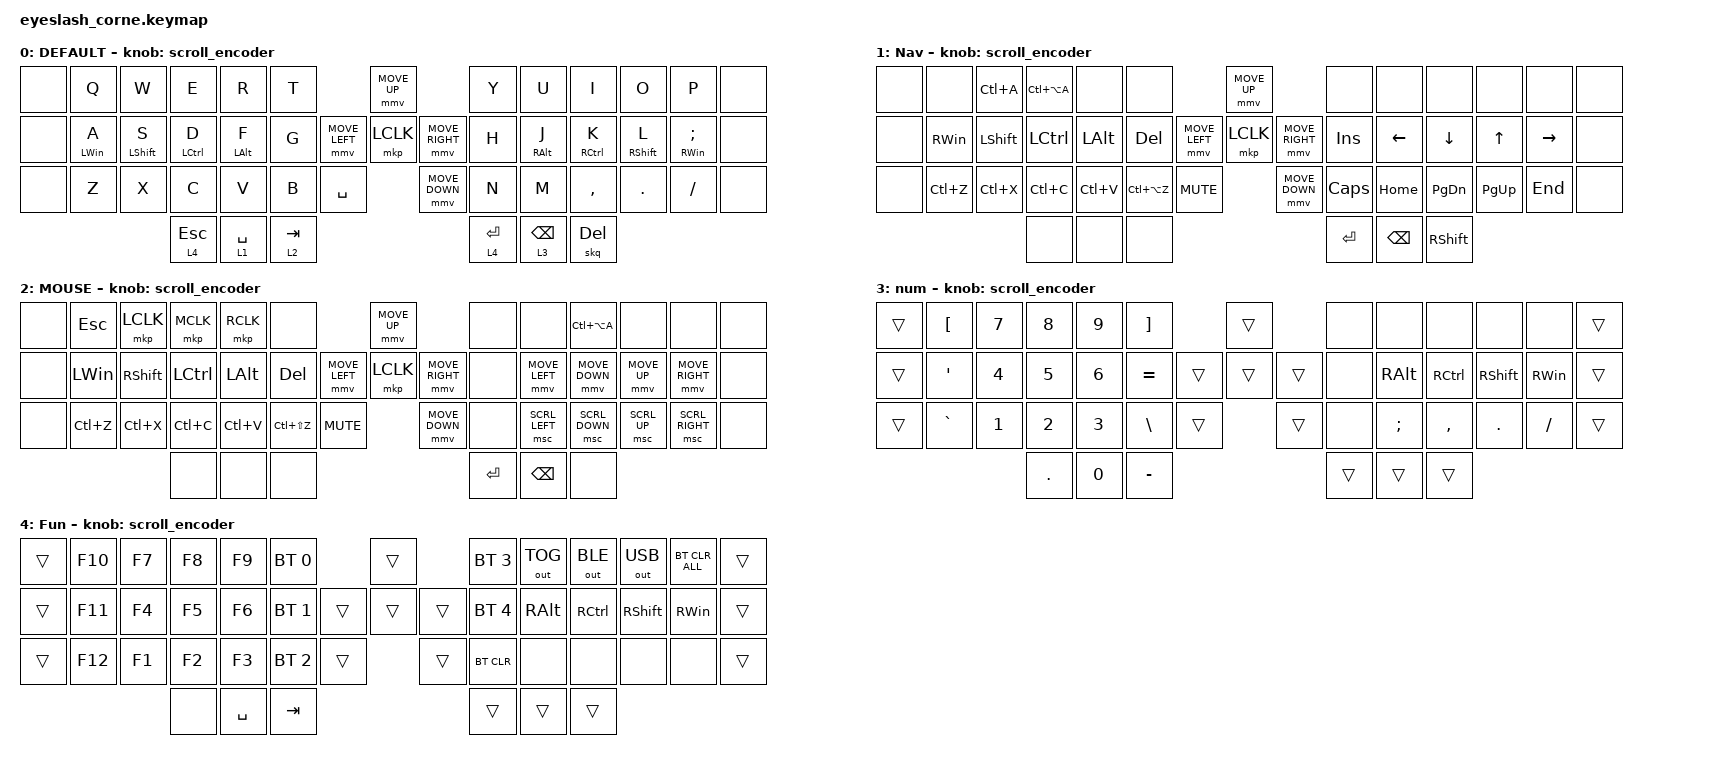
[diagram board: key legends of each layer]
#define ZMK_POINTING_DEFAULT_MOVE_VAL 1200  // 600
#define ZMK_POINTING_DEFAULT_SCRL_VAL 25   // 10

#include <input/processors.dtsi>
#include <zephyr/dt-bindings/input/input-event-codes.h>
#include <behaviors.dtsi>
#include <dt-bindings/zmk/bt.h>
#include <dt-bindings/zmk/keys.h>
#include <dt-bindings/zmk/outputs.h>
#include <dt-bindings/zmk/pointing.h>
#include <dt-bindings/zmk/rgb.h>
#include "zmk-helpers/key-labels/eyelash42.h"

#define DEFAULT   0
#define NAV       1
#define MOUSE     2
#define NUM       3
#define FUN       4
#define MOUSE_KEEP_ALIVE_INS LM4 LM3 LM2 LM1 LM0 LT4 LT3 LT2 LT1 LT0 RT0 RM1 RM2 RM3 RM4 RB1 RB2 RB3 RB4
#define MUM_KEEP_ALIVE_INS KEYS_L THUMBS RT2 RM1 RM2 RM3 RM4 RB1 RB2 RB3 RB4
#define COMBO_TIMEOUT 30
#define COMBO_IDLE 150

&mmv_input_listener { input-processors = <&zip_xy_scaler 2 1>; };

&msc_input_listener { input-processors = <&zip_scroll_scaler 2 1>; };

&msc {
    acceleration-exponent = <1>;      // 0
    time-to-max-speed-ms = <100>;       // 300
    delay-ms = <0>;                   // 0
};

&mmv {
    time-to-max-speed-ms = <500>;
    acceleration-exponent = <1>;
    trigger-period-ms = <16>;
    delay-ms = <0>;                   // 0
};

/ {
    behaviors {
        caps_word: caps_word {
            compatible = "zmk,behavior-caps-word";
            #binding-cells = <0>;
            continue-list = <BACKSPACE DELETE UNDERSCORE MINUS>; // 遇到这些键不停止大写
        };

        // 窗口切换神器

        swapper: swapper {
            compatible = "zmk,behavior-tri-state";
            #binding-cells = <0>;

            // 意思是：开始时按住 Alt，中间过程按 Tab，结束时松开 Alt

            bindings = <&kt LALT>, <&kp TAB>, <&kt LALT>;

            // 1000 毫秒（1秒）没动作就自动确认切换

            timeout-ms = <500>;

            // 关键：把你的导航键索引填在这里
            // 这样当你按这些键时，Swapper 会保持 Alt 按下状态

            ignored-key-positions = <LT1 RT1 LH1 RM1 RM4>;
        };

        // 这里的 smart_mouse 对应你原有的宏定义

        smart_mouse: smart_mouse {
            compatible = "zmk,behavior-tri-state";
            #binding-cells = <0>;

            // 行为定义：[开始时执行], [中间执行], [结束时执行]

            bindings = <&tog MOUSE>, <&none>, <&tog MOUSE>;

            // 1500毫秒无动作自动退出

            timeout-ms = <1500>;

            // 在哪些层下不进行超时计时（通常包含鼠标层本身）
            // 这里的 MOUSE, NAV 等需要对应你的层索引数字

            ignored-layers = <1 2>;

            // 哪些按键按下后会重置计时器，不导致层退出
            // 这里的 MOUSE_KEEP_ALIVE_INS 是你在上面定义的物理索引宏

            ignored-key-positions = <MOUSE_KEEP_ALIVE_INS>;
        };

        smart_num: smart_num {
            compatible = "zmk,behavior-tri-state";
            #binding-cells = <0>;

            // 开始：开启 NUM 层 | 中间：无动作 | 结束：关闭 NUM 层

            bindings = <&tog NUM>, <&none>, <&tog NUM>;

            // 数字层通常不需要太短的超时，甚至可以设长一点
            // 让我们主要依靠“按键动作”来退出

            timeout-ms = <2000>;

            // 关键：包含 NUM 层本身 (3)

            ignored-layers = <NUM>;

            // 关键：这里填入所有“属于数字层”的按键索引
            // 只要按这些键，数字层就不会关闭。
            // 必须包含：R(4) 和 U(8) 这两个 Combo 触发键！

            ignored-key-positions = <MUM_KEEP_ALIVE_INS>;
        };

        hml: hml {
            compatible = "zmk,behavior-hold-tap";
            #binding-cells = <2>;
            bindings = <&kp>, <&kp>;

            flavor = "tap-preferred";
            tapping-term-ms = <280>;
            quick-tap-ms = <200>;                // 快速连打不触发长按
            require-prior-idle-ms = <150>;       // 关键：只有停顿后的按压才判定为修饰键
            hold-trigger-key-positions = <KEYS_R THUMBS>; // 交叉触发：左手修饰键只对右手生效
            hold-trigger-on-release;
        };

        hmr: hmr {
            compatible = "zmk,behavior-hold-tap";
            #binding-cells = <2>;
            bindings = <&kp>, <&kp>;

            flavor = "tap-preferred";
            tapping-term-ms = <280>;
            quick-tap-ms = <200>;
            require-prior-idle-ms = <150>;
            hold-trigger-key-positions = <KEYS_L THUMBS>;
            hold-trigger-on-release;
        };

        // 1. 简化的快速粘滞键：只负责点按粘滞，不处理双击锁定

        skq: sticky_key_quick {
            compatible = "zmk,behavior-sticky-key";
            #binding-cells = <1>;
            bindings = <&kp>;
            release-after-ms = <1000>;
            quick-release;
            ignore-modifiers; // 核心：忽略修饰键干扰，避开系统连击判定
        };

        thumb_num: thumb_num {
            compatible = "zmk,behavior-hold-tap";
            #binding-cells = <2>;
            flavor = "balanced";
            tapping-term-ms = <200>;
            quick-tap-ms = <150>;
            bindings = <&mo>, <&smart_num>;
        };

        // 定义一个名为 thumb_mouse 的行为

        thumb_mouse: thumb_mouse {
            compatible = "zmk,behavior-hold-tap";
            #binding-cells = <2>;
            flavor = "balanced";
            tapping-term-ms = <200>;
            quick-tap-ms = <150>;

            // 第一个绑定是 Hold（长按）：切层
            // 第二个绑定是 Tap（短按）：smart_mouse

            bindings = <&mo>, <&smart_mouse>;
        };
    };

    rgb_encoder: rgb_encoder {
        compatible = "zmk,behavior-sensor-rotate";
        #sensor-binding-cells = <0>;
        bindings = <&rgb_ug RGB_BRI>, <&rgb_ug RGB_BRD>;
    };

    scroll_encoder: scroll_encoder {
        compatible = "zmk,behavior-sensor-rotate";
        #sensor-binding-cells = <0>;
        bindings = <&msc SCRL_DOWN>, <&msc SCRL_UP>;

        tap-ms = <100>;
    };

    conditional_layers { compatible = "zmk,conditional-layers"; };

    combos {
        compatible = "zmk,combos";

        // ESC: 左手上排 (W + E)

        combo_esc {
            timeout-ms = <COMBO_TIMEOUT>;
            require-prior-idle-ms = <COMBO_IDLE>;
            key-positions = <LT2 LT3>;
            bindings = <&kp ESC>;
        };

        // shift: 左手 (s + l)

        combo_shift {
            timeout-ms = <COMBO_TIMEOUT>;
            require-prior-idle-ms = <COMBO_IDLE>;
            key-positions = <LM3 RM3>;
            bindings = <&kp LSHIFT>;
        };

        // --- 3. 智能模式与高级功能 ---

        combo_smart_mouse {
            timeout-ms = <40>;
            key-positions = <LT0 RT0>; // T + Y
            bindings = <&smart_mouse>;
            layers = <0>;
        };

        combo_smart_num {
            timeout-ms = <40>;
            key-positions = <LT2 RT2>; // R + U
            bindings = <&smart_num>;
            layers = <0>;
        };

        combo_swapper {
            timeout-ms = <40>;
            require-prior-idle-ms = <150>;
            key-positions = <LT1 RT1>;
            bindings = <&swapper>;
        };

        combo_caps_word {
            timeout-ms = <40>;
            key-positions = <LM1 LM2 LM3>; // S + D + F
            bindings = <&caps_word>;
        };
    };

    keymap {
        compatible = "zmk,keymap";

        default {
            display-name = "DEFAULT";
            bindings = <
&none  &kp Q        &kp W          &kp E         &kp R            &kp T                                   &mmv MOVE_UP                     &kp Y        &kp U             &kp I         &kp O          &kp P           &none
&none  &hml LWIN A  &hml LSHIFT S  &hml LCTRL D  &hml LEFT_ALT F  &kp G                   &mmv MOVE_LEFT  &mkp LCLK       &mmv MOVE_RIGHT  &kp H        &hmr RIGHT_ALT J  &hmr RCTRL K  &hmr RSHIFT L  &hmr RWIN SEMI  &none
&none  &kp Z        &kp X          &kp C         &kp V            &kp B      &kp SPACE                    &mmv MOVE_DOWN                   &kp N        &kp M             &kp COMMA     &kp DOT        &kp FSLH        &none
                                   &lt 4 ESC     &lt 1 SPACE      &lt 2 TAB                                                                &lt 4 ENTER  &lt 3 BACKSPACE   &skq DEL
            >;

            sensor-bindings = <&scroll_encoder>;
        };

        Nav {
            display-name = "Nav";
            bindings = <
&none  &none      &kp LC(A)   &kp LC(LA(A))  &none         &none                                        &mmv MOVE_UP                     &none      &none          &none          &none      &none      &none
&none  &kp RWIN   &kp LSHIFT  &kp LCTRL      &kp LEFT_ALT  &kp DEL                      &mmv MOVE_LEFT  &mkp LCLK       &mmv MOVE_RIGHT  &kp INS    &kp LEFT       &kp DOWN       &kp UP     &kp RIGHT  &none
&none  &kp LC(Z)  &kp LC(X)   &kp LC(C)      &kp LC(V)     &kp LC(LA(Z))  &kp C_MUTE                    &mmv MOVE_DOWN                   &kp CLCK   &kp HOME       &kp PAGE_DOWN  &kp PG_UP  &kp END    &none
                              &none          &none         &none                                                                         &kp ENTER  &kp BACKSPACE  &kp RSHIFT
            >;

            sensor-bindings = <&scroll_encoder>;
        };

        mouse {
            display-name = "MOUSE";
            bindings = <
&none  &kp ESC    &mkp LCLK   &mkp MCLK  &mkp RCLK     &none                                        &mmv MOVE_UP                     &none      &none           &kp LC(LA(A))   &none         &none            &none
&none  &kp LWIN   &kp RSHIFT  &kp LCTRL  &kp LEFT_ALT  &kp DEL                      &mmv MOVE_LEFT  &mkp LCLK       &mmv MOVE_RIGHT  &none      &mmv MOVE_LEFT  &mmv MOVE_DOWN  &mmv MOVE_UP  &mmv MOVE_RIGHT  &none
&none  &kp LC(Z)  &kp LC(X)   &kp LC(C)  &kp LC(V)     &kp LC(LS(Z))  &kp C_MUTE                    &mmv MOVE_DOWN                   &none      &msc SCRL_LEFT  &msc SCRL_DOWN  &msc SCRL_UP  &msc SCRL_RIGHT  &none
                              &none      &none         &none                                                                         &kp ENTER  &kp BACKSPACE   &none
            >;

            sensor-bindings = <&scroll_encoder>;
            label = "mouse";
        };

        Num {
            bindings = <
&trans  &kp LEFT_BRACKET  &kp N7  &kp N8   &kp N9  &kp RIGHT_BRACKET                    &trans          &none   &none          &none      &none       &none     &trans
&trans  &kp SQT           &kp N4  &kp N5   &kp N6  &kp EQUAL                    &trans  &trans  &trans  &none   &kp RIGHT_ALT  &kp RCTRL  &kp RSHIFT  &kp RWIN  &trans
&trans  &kp GRAVE         &kp N1  &kp N2   &kp N3  &kp BSLH           &trans            &trans          &none   &kp SEMI       &kp COMMA  &kp DOT     &kp FSLH  &trans
                                  &kp DOT  &kp N0  &kp MINUS                                            &trans  &trans         &trans
            >;

            sensor-bindings = <&scroll_encoder>;
            label = "num";
        };

        Fun {
            bindings = <
&trans  &kp F10  &kp F7  &kp F8  &kp F9     &bt BT_SEL 0                    &trans          &bt BT_SEL 3  &out OUT_TOG   &out OUT_BLE  &out OUT_USB  &bt BT_CLR_ALL  &trans
&trans  &kp F11  &kp F4  &kp F5  &kp F6     &bt BT_SEL 1            &trans  &trans  &trans  &bt BT_SEL 4  &kp RIGHT_ALT  &kp RCTRL     &kp RSHIFT    &kp RWIN        &trans
&trans  &kp F12  &kp F1  &kp F2  &kp F3     &bt BT_SEL 2  &trans            &trans          &bt BT_CLR    &none          &none         &none         &none           &trans
                         &none   &kp SPACE  &kp TAB                                         &trans        &trans         &trans
            >;

            sensor-bindings = <&scroll_encoder>;
            label = "Fun";
        };
    };
};
